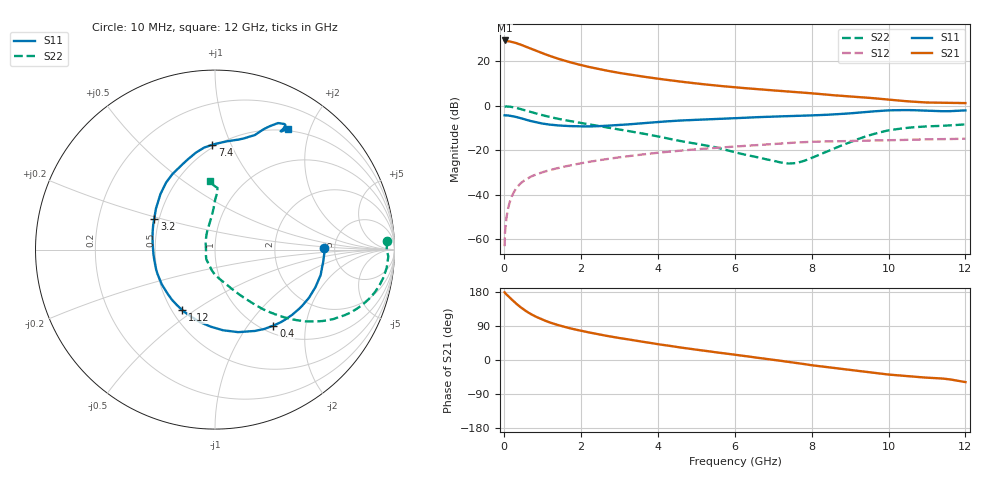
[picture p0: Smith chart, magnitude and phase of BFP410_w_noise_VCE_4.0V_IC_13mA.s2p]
! Infineon Technologies  Discrete & RF Semiconductors
! BFP410
! VCE =  4.0 V,  IC =  13 mA
! Common Emitter S-Parameters:  Nov 2015
# GHz  S  MA  R  50
!  f  S11  S21  S12  S22
! GHz  MAG  ANG  MAG  ANG  MAG  ANG  MAG  ANG
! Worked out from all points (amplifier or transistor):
!   243 points, 10 MHz to 12 GHz, reference 50 ohm
!   highest |S21| = 29.3 dB at 10 MHz (marker M1)
!   |S21| within 3 dB of that: start of sweep to 593.6 MHz
!   unconditionally stable (mu >= 1): start of sweep to 19.7 MHz; 2.226 GHz to end of sweep
!   at 240 MHz: K = 0.26, MSG = 33.8 dB, |S12| = -39.2 dB
!   at 1.84 GHz: K = 0.91, MSG = 22.7 dB, |S12| = -26.4 dB
!   at 12 GHz: K = 1.03, MAG = 6.9 dB, |S12| = -14.8 dB
!   lowest NFmin = 1.42 dB at 900 MHz
!   S11 on the Smith chart (normalised r, x): 10 MHz: 4.11, +0.14; 400 MHz: 1.13, -1.33; 1.12 GHz: 0.56, -0.45; 3.2 GHz: 0.47, +0.19; 7.4 GHz: 0.48, +0.85; 12 GHz: 0.47, +1.67
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0.01  0.6093 1.0  29.3 178.6  0.0007 36.4  0.9593 3.0
0.02  0.6097 -1.4  28.93 176.8  0.0014 59.8  0.9567 0.0
0.055  0.6064 -6.8  28.47 173.2  0.0028 69.3  0.9658 -2.7
0.1  0.6053 -13.6  28.23 169.0  0.0049 74.9  0.9619 -6.0
0.2  0.5882 -27.3  27.2 159.2  0.0093 75.0  0.9375 -12.3
0.3  0.5627 -40.3  25.75 149.8  0.0135 71.6  0.8997 -17.9
0.4  0.534 -52.5  24.09 141.3  0.0171 67.9  0.8555 -22.7
0.5  0.5047 -63.9  22.37 133.7  0.0203 65.1  0.8088 -26.9
0.6  0.4777 -74.3  20.64 126.7  0.0231 62.6  0.7636 -30.5
0.74  0.4419 -87.7  18.45 118.7  0.0266 60.1  0.7049 -34.5
0.9  0.4127 -101.7  16.27 110.6  0.0301 58.0  0.6456 -38.3
1.12  0.3833 -118.3  13.8 101.6  0.0345 56.1  0.5773 -42.2
1.5  0.3566 -141.6  10.73 89.4  0.0416 53.9  0.4898 -47.2
2.02  0.3438 -166.3  8.116 76.7  0.0514 51.5  0.4085 -52.2
2.6  0.3529 170.6  6.312 64.9  0.0621 48.1  0.3338 -57.2
3.2  0.3798 153.0  5.125 54.9  0.0731 44.3  0.2731 -62.7
4.1  0.4384 132.8  3.946 40.3  0.0896 37.9  0.1966 -73.2
6.1  0.5292 105.7  2.555 12.6  0.1227 22.2  0.086 -115.0
7.4  0.5841 91.5  2.089 -5.0  0.1459 10.9  0.0503 -175.5
8.2  0.6162 80.7  1.836 -16.3  0.1563 2.2  0.0794 129.3
10.2  0.7934 62.3  1.325 -40.1  0.1689 -13.8  0.2969 88.8
12  0.7867 58.8  1.147 -58.3  0.1817 -29.4  0.3813 94.4
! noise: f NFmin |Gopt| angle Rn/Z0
0.45  1.45  0.03  -118  0.16
0.9  1.42  0.02  -123  0.16
1.8  1.53  0.08  -148  0.16
2.4  1.53  0.14  -128  0.21
5.5  2.4  0.38  -109  0.32
10  3.52  0.68  -48  2.04
